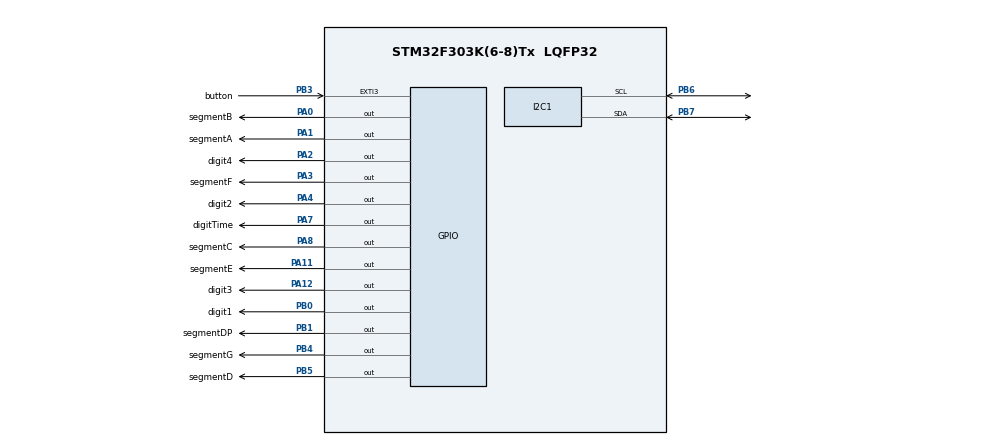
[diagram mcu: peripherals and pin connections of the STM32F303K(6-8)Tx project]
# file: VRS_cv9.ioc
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I2C1.OwnAddress=1
Mcu.Family=STM32F3
Mcu.Name=STM32F303K(6-8)Tx
Mcu.Package=LQFP32
NVIC.EXTI3_IRQn=true\:0\:0\:false\:false\:true\:true\:true
NVIC.I2C1_EV_IRQn=true\:2\:0\:true\:false\:true\:true\:true
NVIC.PriorityGroup=NVIC_PRIORITYGROUP_4
NVIC.TIM2_IRQn=true\:0\:0\:false\:false\:true\:true\:true
PA0.GPIO_Label=segmentB
PA0.Signal=GPIO_Output
PA1.GPIO_Label=segmentA
PA1.Signal=GPIO_Output
PA11.GPIO_Label=segmentE
PA11.Signal=GPIO_Output
PA12.GPIO_Label=digit3
PA12.Signal=GPIO_Output
PA2.GPIO_Label=digit4
PA2.Signal=GPIO_Output
PA3.GPIO_Label=segmentF
PA3.Signal=GPIO_Output
PA4.GPIO_Label=digit2
PA4.Signal=GPIO_Output
PA7.GPIO_Label=digitTime
PA7.Signal=GPIO_Output
PA8.GPIO_Label=segmentC
PA8.Signal=GPIO_Output
PB0.GPIO_Label=digit1
PB0.Signal=GPIO_Output
PB1.GPIO_Label=segmentDP
PB1.Signal=GPIO_Output
PB3.GPIO_Label=button
PB3.GPIO_PuPd=GPIO_PULLUP
PB3.Signal=GPXTI3
PB4.GPIO_Label=segmentG
PB4.Signal=GPIO_Output
PB5.GPIO_Label=segmentD
PB5.Signal=GPIO_Output
PB6.GPIO_Pu=GPIO_PULLUP
PB6.Mode=I2C
PB6.Signal=I2C1_SCL
PB7.GPIO_Pu=GPIO_PULLUP
PB7.Mode=I2C
PB7.Signal=I2C1_SDA
PF0\ /\ OSC_IN.Mode=HSE-External-Clock-Source
PF0\ /\ OSC_IN.Signal=RCC_OSC_IN
ProjectManager.HeapSize=0x200
ProjectManager.StackSize=0x400
ProjectManager.TargetToolchain=STM32CubeIDE
RCC.AHBFreq_Value=8000000
RCC.APB1Freq_Value=8000000
RCC.APB2Freq_Value=8000000
RCC.CortexFreq_Value=8000000
RCC.HSE_VALUE=8000000
RCC.HSI_VALUE=8000000
RCC.SYSCLKFreq_VALUE=8000000
TIM2.AutoReloadPreload=TIM_AUTORELOAD_PRELOAD_DISABLE
TIM2.Channel-Output\ Compare1\ No\ Output=TIM_CHANNEL_1
TIM2.Period=49
TIM2.Prescaler=799
VP_TIM2_VS_ClockSourceINT.Mode=Internal
VP_TIM2_VS_no_output1.Mode=Output Compare1 No Output
board=NUCLEO-F303K8

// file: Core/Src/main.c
/* USER CODE BEGIN Header */
/**
  ******************************************************************************
  * @file           : main.c
  * @brief          : Main program body
  ******************************************************************************
  * @attention
  *
  * <h2><center>&copy; Copyright (c) 2021 STMicroelectronics.
  * All rights reserved.</center></h2>
  *
  * This software component is licensed by ST under BSD 3-Clause license,
  * the "License"; You may not use this file except in compliance with the
  * License. You may obtain a copy of the License at:
  *                        opensource.org/licenses/BSD-3-Clause
  *
  ******************************************************************************
  */
/* USER CODE END Header */
#include "main.h"
#include "i2c.h"
#include "tim.h"
#include "gpio.h"

/* USER CODE BEGIN Includes */
#include "display.h"
#include "lps25hb.h"
#include "altitudePressure.h"
#include "hts.h"
#include <math.h>
/* USER CODE END Includes */

/* USER CODE BEGIN PV */
uint8_t temp = 0;
float mag[3], acc[3];
char displayText[15];
uint8_t mode = 0;
/* USER CODE END PV */

void SystemClock_Config(void);

int main(void)
{

  /* MCU Configuration--------------------------------------------------------*/

  /* Reset of all peripherals, Initializes the Flash interface and the Systick. */

  LL_APB2_GRP1_EnableClock(LL_APB2_GRP1_PERIPH_SYSCFG);
  LL_APB1_GRP1_EnableClock(LL_APB1_GRP1_PERIPH_PWR);

  NVIC_SetPriorityGrouping(NVIC_PRIORITYGROUP_4);

  /* System interrupt init*/

  /* Configure the system clock */
  SystemClock_Config();

  /* Initialize all configured peripherals */
  MX_GPIO_Init();
  MX_TIM2_Init();
  MX_I2C1_Init();
  /* USER CODE BEGIN 2 */
  //LL_TIM_EnableIT_CC2(TIM2);
  LL_TIM_EnableIT_UPDATE(TIM2);
  LL_TIM_EnableCounter(TIM2);

  uint8_t htsSensorStatus = hts_sensore_init();
  uint8_t pressureSensorStatus = pressure_init();

  resetAllDigits();

  /* USER CODE END 2 */

  /* Infinite loop */
  /* USER CODE BEGIN WHILE */
  while (1)
  {
	  //lsm6ds0_get_acc(acc, (acc+1), (acc+2));
	  if(mode == 0){
		  if(htsSensorStatus == 1){
			  printTemperature();
		  }
		  else if(htsSensorStatus == 0){
			  mode +=1;
		  }
	  }
	  else if(mode == 1){
		  if(htsSensorStatus == 1){
			  printHumidity();
		  }
		  else if(htsSensorStatus == 0){
			  mode +=1;
		  }
	  }
	  else if(mode == 2){
		  if(pressureSensorStatus == 1){
			  printPressure();
		  }
		  else if(pressureSensorStatus == 0){
			  mode +=1;
		  }
	  }
	  else if(mode == 3){
		  if(pressureSensorStatus == 1 && htsSensorStatus == 1){
			  printAltitude();
		  }
		  else if(pressureSensorStatus == 0 || htsSensorStatus == 0){
			  mode +=1;
		  }
	  }
    /* USER CODE END WHILE */

  }
}

void SystemClock_Config(void)
{
  LL_FLASH_SetLatency(LL_FLASH_LATENCY_0);
  while(LL_FLASH_GetLatency()!= LL_FLASH_LATENCY_0)
  {
  }
  LL_RCC_HSI_Enable();

   /* Wait till HSI is ready */
  while(LL_RCC_HSI_IsReady() != 1)
  {

  }
  LL_RCC_HSI_SetCalibTrimming(16);
  LL_RCC_SetAHBPrescaler(LL_RCC_SYSCLK_DIV_1);
  LL_RCC_SetAPB1Prescaler(LL_RCC_APB1_DIV_1);
  LL_RCC_SetAPB2Prescaler(LL_RCC_APB2_DIV_1);
  LL_RCC_SetSysClkSource(LL_RCC_SYS_CLKSOURCE_HSI);

   /* Wait till System clock is ready */
  while(LL_RCC_GetSysClkSource() != LL_RCC_SYS_CLKSOURCE_STATUS_HSI)
  {

  }
  LL_Init1msTick(8000000);
  LL_SetSystemCoreClock(8000000);
  LL_RCC_SetI2CClockSource(LL_RCC_I2C1_CLKSOURCE_HSI);
}

/* USER CODE BEGIN 4 */
void printTemperature(void){
	char valueString[15];
	int16_t temperature = HTS221_Get_Temperature();
	sprintf(valueString, "%d", temperature);
	memset(displayText, '\0', 15);
	strcat(displayText, "tEMP_");
	if(valueString[0]=='-'){
		strncat(displayText, valueString, 3);
		strcat(displayText, ".");
		strncat(displayText, &valueString[3],1);
	}
	else if(temperature > 999){
		strcat(displayText, "99.9");
	}
	else if(temperature < (-999)){
		strcat(displayText, "-99.9");
	}
	else{
		strncat(displayText, valueString, 2);
		strcat(displayText, ".");
		strncat(displayText, &valueString[2],1);
	}
	setDisplayText(displayText);
}

void printHumidity(void){
	char valueString[15];
	int16_t humidity = HTS221_Get_Humidity();
	sprintf(valueString, "%d", humidity);
	memset(displayText, '\0', 15);
	strcat(displayText, "HUM_");
	strncat(displayText, valueString, 2);
	setDisplayText(displayText);
}

void printPressure(void){
	char valueString[15];
	float pressure = 0;
	pressure = (float)get_pressure();
	gcvt(pressure, 6, valueString);
	memset(displayText, '\0', 15);
	strcat(displayText, "bar_");
	strcat(displayText, valueString);
	setDisplayText(displayText);
}

void printAltitude(void){
	char valueString[15];
	int16_t temperature = HTS221_Get_Temperature();
	float pressure = (float)get_pressure();

	float tempVar1 = powf((1013.25/pressure),1/5.257)-1;
	float tempVar2 = (float)temperature/10+273.15;
	float altitude = (tempVar1*tempVar2)/0.0065;

	memset(displayText, '\0', 15);
	int altitudeInt = (int)floor(10*altitude);
	if(altitudeInt>=0){
		sprintf(valueString, "%05d", altitudeInt);
		strcat(displayText, "ALt_");
		strncat(displayText, valueString, 4);
		strcat(displayText, ".");
		strncat(displayText, &valueString[4],1);
	}
	else if(altitudeInt<0){
		sprintf(valueString, "%06d", altitudeInt);
		strcat(displayText, "ALt_");
		strncat(displayText, valueString, 5);
		strcat(displayText, ".");
		strncat(displayText, &valueString[5],1);
	}
	setDisplayText(displayText);
}

/* USER CODE END 4 */

void Error_Handler(void)
{
  __disable_irq();
  while (1)
  {
  }
}

/************************ (C) COPYRIGHT STMicroelectronics *****END OF FILE****/
